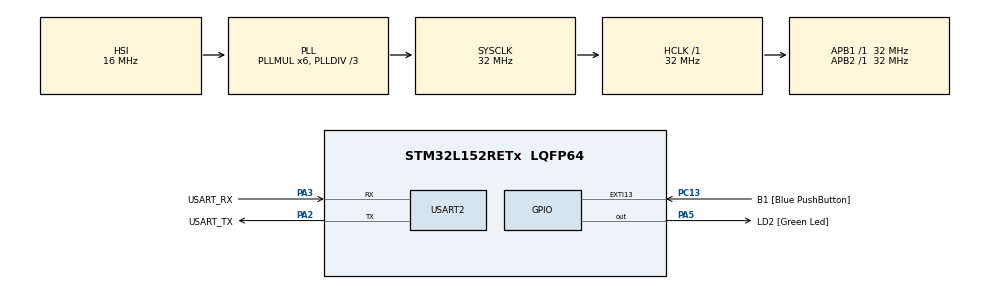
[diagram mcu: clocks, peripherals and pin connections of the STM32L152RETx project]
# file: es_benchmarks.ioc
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Mcu.Family=STM32L1
Mcu.Name=STM32L152RETx
Mcu.Package=LQFP64
NVIC.PriorityGroup=NVIC_PRIORITYGROUP_0
PA13.GPIO_Label=TMS
PA13.Mode=Serial_Wire
PA13.Signal=SYS_JTMS-SWDIO
PA14.GPIO_Label=TCK
PA14.Mode=Serial_Wire
PA14.Signal=SYS_JTCK-SWCLK
PA2.GPIO_Label=USART_TX
PA2.Mode=Asynchronous
PA2.Signal=USART2_TX
PA3.GPIO_Label=USART_RX
PA3.Mode=Asynchronous
PA3.Signal=USART2_RX
PA5.GPIO_Label=LD2 [Green Led]
PA5.Signal=GPIO_Output
PB3.GPIO_Label=SWO
PB3.Signal=SYS_JTDO-TRACESWO
PC13-WKUP2.GPIO_Label=B1 [Blue PushButton]
PC13-WKUP2.Signal=GPXTI13
PC14-OSC32_IN.Mode=LSE-External-Oscillator
PC14-OSC32_IN.Signal=RCC_OSC32_IN
PC15-OSC32_OUT.Mode=LSE-External-Oscillator
PC15-OSC32_OUT.Signal=RCC_OSC32_OUT
PH0-OSC_IN.Mode=HSE-External-Clock-Source
PH0-OSC_IN.Signal=RCC_OSC_IN
PH1-OSC_OUT.Signal=RCC_OSC_OUT
ProjectManager.HeapSize=0x200
ProjectManager.StackSize=0x400
ProjectManager.TargetToolchain=STM32CubeIDE
RCC.48MHZClocksFreq_Value=48000000
RCC.AHBFreq_Value=32000000
RCC.APB1Freq_Value=32000000
RCC.APB1TimFreq_Value=32000000
RCC.APB2Freq_Value=32000000
RCC.APB2TimFreq_Value=32000000
RCC.HCLKFreq_Value=32000000
RCC.HSE_VALUE=8000000
RCC.HSI_VALUE=16000000
RCC.MSI_VALUE=2097000
RCC.PLLDIV=RCC_PLL_DIV3
RCC.PLLMUL=RCC_PLL_MUL6
RCC.RTCClockSelectionVirtual=RCC_RTCCLKSOURCE_LSE
RCC.SYSCLKFreq_VALUE=32000000
RCC.SYSCLKSource=RCC_SYSCLKSOURCE_PLLCLK
RCC.USBOutput=48000000
RCC.VCOOutputFreq_Value=96000000
USART2.VirtualMode=VM_ASYNC
board=NUCLEO-L152RE

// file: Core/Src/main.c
/* USER CODE BEGIN Header */
/**
 ******************************************************************************
 * @file           : main.c
 * @brief          : Main program body
 ******************************************************************************
 * @attention
 *
 * Copyright (c) 2024 STMicroelectronics.
 * All rights reserved.
 *
 * This software is licensed under terms that can be found in the LICENSE file
 * in the root directory of this software component.
 * If no LICENSE file comes with this software, it is provided AS-IS.
 *
 ******************************************************************************
 */
/* USER CODE END Header */
#include "main.h"
#include "usart.h"
#include "gpio.h"

/* USER CODE BEGIN Includes */
#include <stdio.h>
#include "visualizer.h"
#include "pwm-fan-speed.h"
#include "huffman-compression.h"
#include "simple_random.h"
#include "pathfind.h"
/* USER CODE END Includes */

/* USER CODE BEGIN PD */
#define PUTCHAR_PROTOTYPE int __io_putchar(int ch)
/* USER CODE END PD */

/* USER CODE BEGIN PV */
char data[32];
/* USER CODE END PV */

void SystemClock_Config(void);

/* USER CODE BEGIN PFP */

void bench(void (*benchmark)(double *), uint32_t input_len, uint32_t iter, uint32_t rescale);
void bench_int(void (*benchmark)(unsigned int *), uint32_t input_len, uint32_t iter, uint32_t rescale_mod, int32_t rescale_offset);
void bench_int_pathfind(void (*benchmark)(unsigned int *), uint32_t input_len, uint32_t iter, uint32_t rescale_mod);
/* USER CODE END PFP */

int main(void)
{

  /* MCU Configuration--------------------------------------------------------*/

  /* Reset of all peripherals, Initializes the Flash interface and the Systick. */
  HAL_Init();

  /* Configure the system clock */
  SystemClock_Config();

  /* Initialize all configured peripherals */
  MX_GPIO_Init();
  MX_USART2_UART_Init();
  /* USER CODE BEGIN 2 */

  // Enable the counter
  DWT->CTRL |= DWT_CTRL_CYCCNTENA_Msk;
  CoreDebug->DEMCR |= CoreDebug_DEMCR_TRCENA_Msk;
  // Set random seed
  random_set_seed(42);
  uint32_t iters = 1000;

  // Visualizer
  printf("Start bench Visualizer\r\n");
  bench(visualizer, VIS_INPUT_SIZE, iters, VIS_INPUT_SCALE);
  printf("Done bench Visualizer\r\n");

  // Pwm-fan-speed
  printf("Start bench Pwm fan speed controller\r\n");
  bench(pwm_fan_speed, PWM_INPUT_SIZE, iters, PWM_INPUT_SCALE);
  printf("Done bench Pwm fan speed controller\r\n");

  // Huffman compression
  printf("Start bench Huffman compression\r\n");
  bench_int(huffman_compression, HUFFMAN_INPUT_SIZE, iters, 95,  32);
  printf("Done bench Huffman compression\r\n");

  // Pathfind
  printf("Start bench Pathfinder\r\n");
  bench_int_pathfind(pathfind, PATHFIND_INPUT_SIZE, iters, PATHFIND_HEIGHT);
  printf("Done bench Pathfinder\r\n");

  /* USER CODE END 2 */

  /* Infinite loop */
  while (1)
  {

  }
}

void SystemClock_Config(void)
{
  RCC_OscInitTypeDef RCC_OscInitStruct = {0};
  RCC_ClkInitTypeDef RCC_ClkInitStruct = {0};

  /** Configure the main internal regulator output voltage
   */
  __HAL_PWR_VOLTAGESCALING_CONFIG(PWR_REGULATOR_VOLTAGE_SCALE1);

  /** Initializes the RCC Oscillators according to the specified parameters
   * in the RCC_OscInitTypeDef structure.
   */
  RCC_OscInitStruct.OscillatorType = RCC_OSCILLATORTYPE_HSI;
  RCC_OscInitStruct.HSIState = RCC_HSI_ON;
  RCC_OscInitStruct.HSICalibrationValue = RCC_HSICALIBRATION_DEFAULT;
  RCC_OscInitStruct.PLL.PLLState = RCC_PLL_ON;
  RCC_OscInitStruct.PLL.PLLSource = RCC_PLLSOURCE_HSI;
  RCC_OscInitStruct.PLL.PLLMUL = RCC_PLL_MUL6;
  RCC_OscInitStruct.PLL.PLLDIV = RCC_PLL_DIV3;
  if (HAL_RCC_OscConfig(&RCC_OscInitStruct) != HAL_OK)
  {
    Error_Handler();
  }

  /** Initializes the CPU, AHB and APB buses clocks
   */
  RCC_ClkInitStruct.ClockType =
      RCC_CLOCKTYPE_HCLK | RCC_CLOCKTYPE_SYSCLK | RCC_CLOCKTYPE_PCLK1 | RCC_CLOCKTYPE_PCLK2;
  RCC_ClkInitStruct.SYSCLKSource = RCC_SYSCLKSOURCE_PLLCLK;
  RCC_ClkInitStruct.AHBCLKDivider = RCC_SYSCLK_DIV1;
  RCC_ClkInitStruct.APB1CLKDivider = RCC_HCLK_DIV1;
  RCC_ClkInitStruct.APB2CLKDivider = RCC_HCLK_DIV1;

  if (HAL_RCC_ClockConfig(&RCC_ClkInitStruct, FLASH_LATENCY_1) != HAL_OK)
  {
    Error_Handler();
  }
}

/* USER CODE BEGIN 4 */

/**
 * @brief Runs the given benchmark.
 *
 * @param benchmark: the main benchmark function
 * @param input_len: the length of the input for the benchmark
 * @param iter: the number of iterations: each iteration will have different input
 * @param rescale: a parameter to rescale the input (which is in the range U[0,1)
 */
void bench(void (*benchmark)(double *), uint32_t input_len,
             uint32_t iter, uint32_t rescale)
{
  double input[input_len];
  long unsigned int single_iter_lapse;
  for (int i = 0; i < iter; ++i)
  {
    // Randomize array
    random_get_array(input, input_len);
    // Optionally, rescale the input
    for (int i = 0; i < input_len; ++i)
    {
      input[i] *= rescale;
    }
    // Reset the system counter to avoid overflows
    DWT->CYCCNT = 0;
    // Run the bench
    benchmark(input);
    single_iter_lapse = DWT->CYCCNT;
    printf("%lu\r\n", single_iter_lapse);
  }
}

/**
 * @brief Runs the given benchmark, with integer inputs.
 *        A rescaling on the input is done as follows:
 *          input[i] = input[i] % rescale_mod + rescale_offset
 *        thus allowing for arbitrary integer values.
 *
 * @param benchmark: the main benchmark function
 * @param input_len: the length of the input for the benchmark
 * @param iter: the number of iterations: each iteration will have different input
 * @param rescale_mod: the range of integer values (from 0 to rescale_mod-1)
 * @param rescale_offset: the range offset (to sum to each input value)
 */
void bench_int(void (*benchmark)(unsigned int *), uint32_t input_len,
                 uint32_t iter, uint32_t rescale_mod, int32_t rescale_offset)
{
  uint32_t input[input_len];
  long unsigned int single_iter_lapse;
  for (int i = 0; i < iter; ++i)
  {
    // Randomize array
    random_get_iarray(input, input_len);
    // Optionally, rescale the input
    for (int i = 0; i < input_len; ++i)
    {
      input[i] = input[i] % rescale_mod + rescale_offset;
    }
    // Reset the system counter to avoid overflows
    DWT->CYCCNT = 0;
    // Run the bench
    benchmark((unsigned int *)input);
    single_iter_lapse = DWT->CYCCNT;
    printf("%lu\r\n", single_iter_lapse);
  }
}

/**
 * @brief Runs the given benchmark, with integer inputs.
 *        A rescaling on the input is done as follows:
 *          input[i] = input[i] % rescale_mod
 *        thus allowing for arbitrary integer values.
 *        a rescale_offset is not needed
 *
 * @param benchmark: the main benchmark function
 * @param input_len: the length of the input for the benchmark
 * @param iter: the number of iterations: each iteration will have different input
 * @param rescale_mod: the range of integer values (from 0 to rescale_mod-1)
 */
void bench_int_pathfind(void (*benchmark)(unsigned int *), uint32_t input_len,
                          uint32_t iter, uint32_t rescale_mod)
{
  uint32_t input[input_len], single_iter_lapse;
  for (int i = 0; i < iter; ++i)
  {
    // Randomize array
    random_get_iarray(input, input_len);
    // Optionally, rescale the input
    for (int j = 0; j < 4; ++j)
    {
      input[j] = input[j] % rescale_mod;
    }
    // Generate the map
    rescale_mod = 2;
    for (int j = 4; j < input_len; ++j)
    {
      input[j] = input[j] % rescale_mod;
    }
    // Reset the system counter to avoid overflows
    DWT->CYCCNT = 0;
    // Run the bench
    benchmark((unsigned int *)input);
    single_iter_lapse = DWT->CYCCNT;
    printf("%lu\r\n", single_iter_lapse);
  }
}

PUTCHAR_PROTOTYPE
{
  if (HAL_UART_Transmit(&huart2, (uint8_t *)&ch, 1, 0xFFFF) != HAL_OK)
  {
    Error_Handler();
  }

  return (ch);
}

/* USER CODE END 4 */

void Error_Handler(void)
{
  __disable_irq();
  while (1)
  {
  }
}
